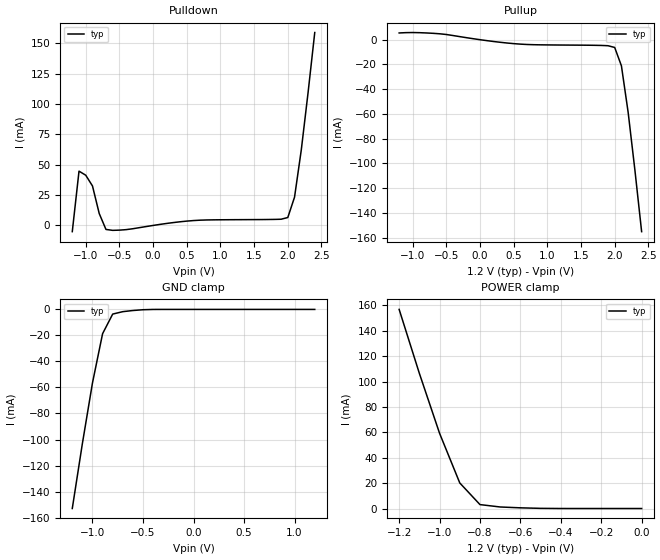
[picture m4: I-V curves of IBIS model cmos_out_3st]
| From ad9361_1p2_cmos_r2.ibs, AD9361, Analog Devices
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[model] cmos_out_3st
Model_type 3-state
Cref  =   3.000pF
Rref  =   10kOhm
Vref  =   1.2V
Vmeas =   0.9V
C_comp   4pF   NA   NA
[Voltage Range]   1.200V  NA   NA
[GND Clamp Reference]   0.000V  NA   NA
[POWER Clamp Reference] 1.200V  NA   NA
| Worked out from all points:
|   slope of the pulldown table from 0 to 0.18 V, typ, clamps not added: 122 ohm
|   slope of the pullup table from 0 to 0.18 V, typ, clamps not added: 138 ohm
|   GND clamp passes 1 mA (typ) near -0.62 V on its own axis
|   POWER clamp passes 1 mA (typ) near -0.67 V on its own axis
[GND Clamp]
| Voltage  I(typ)   I(min)  I(max)
-1.2V     -153mA     NA         NA
-1.1V     -103.1mA   NA         NA
-1V       -56.47mA   NA         NA
-900mV    -18.66mA   NA         NA
-800mV    -3.584mA   NA         NA
-700mV    -1.725mA   NA         NA
-400mV    -23.56uA   NA         NA
1.2V      40pA       NA         NA
[POWER Clamp]
-1.2V     156.8mA    NA         NA
-1.1V     106.5mA    NA         NA
-1V       59.26mA    NA         NA
-900mV    20.15mA    NA         NA
-800mV    3.092mA    NA         NA
-700mV    1.208mA    NA         NA
-500mV    127uA      NA         NA
0V        40pA       NA         NA
[Pulldown]
-1.2V     -5.111mA   NA         NA
-1.1V     44.72mA    NA         NA
-1V       41.36mA    NA         NA
-900mV    32.51mA    NA         NA
-800mV    9.819mA    NA         NA
-700mV    -3.295mA   NA         NA
-400mV    -3.457mA   NA         NA
600mV     4.017mA    NA         NA
2V        6.533mA    NA         NA
2.1V      23.31mA    NA         NA
2.2V      62.17mA    NA         NA
2.4V      158.9mA    NA         NA
[Pullup]
-1.2V     5.43mA     NA         NA
-1V       5.776mA    NA         NA
-600mV    4.774mA    NA         NA
200mV     -1.448mA   NA         NA
600mV     -3.587mA   NA         NA
1.8V      -4.64mA    NA         NA
1.9V      -4.865mA   NA         NA
2V        -6.277mA   NA         NA
2.1V      -21.1mA    NA         NA
2.2V      -58.73mA   NA         NA
2.3V      -105.2mA   NA         NA
2.4V      -155mA     NA         NA
[Ramp]
|   typ   min   max
dV/dt_r   0.78V/.2840704ns   NA   NA
dV/dt_f   0.78V/.27196868ns   NA   NA
R_load=10k
|----------------End of cmos_out_3st Model-----------------*******-----------
